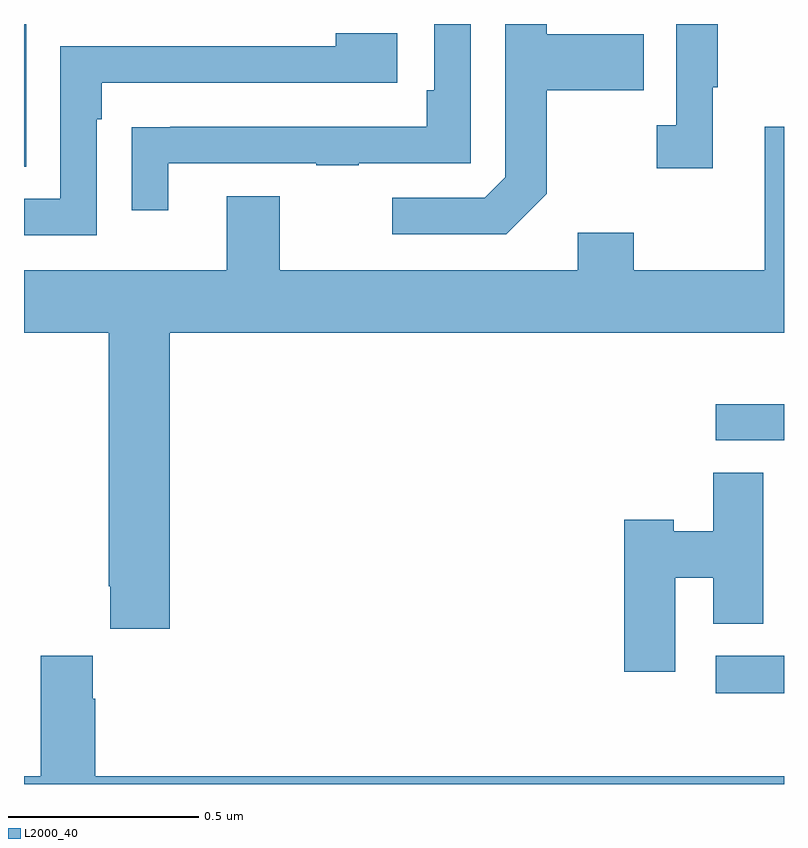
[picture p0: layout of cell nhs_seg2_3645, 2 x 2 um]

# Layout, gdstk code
import gdstk
lib = gdstk.Library(unit=1e-6, precision=1e-09)
def R(c, l, rs):  # rectangles x0, y0, x1, y1
    for r in rs: c.add(gdstk.rectangle(r[:2], r[2:], *l))
def P(c, l, *ps):  # polygons
    for p in ps: c.add(gdstk.Polygon(p, *l))
L2000_40 = (2000, 40)

nhs_seg2_3645 = lib.new_cell('nhs_seg2_3645')
R(nhs_seg2_3645, L2000_40, [(157.821,628.039,158,628.137), (157.821,628.704,158,628.8), (156,629.425,156.006,629.8)])
P(nhs_seg2_3645, L2000_40, [(156.379,629.433),(156.769,629.433),(156.769,629.428),(156.881,629.428),(156.881,629.433),(157.176,629.433),(157.176,629.8),(157.08,629.8),(157.08,629.626),(157.06,629.626),(157.06,629.529),(156.385,629.529),(156.385,629.528),(156.283,629.528),(156.283,629.31),(156.379,629.31)],
  [(157.813,629.633),(157.825,629.633),(157.825,629.8),(157.716,629.8),(157.716,629.534),(157.665,629.534),(157.665,629.421),(157.813,629.421)],
  [(157.375,629.353),(157.375,629.626),(157.631,629.626),(157.631,629.773),(157.375,629.773),(157.375,629.8),(157.266,629.8),(157.266,629.397),(157.212,629.343),(156.969,629.343),(156.969,629.247),(157.269,629.247)],
  [(156.192,629.549),(156.205,629.549),(156.205,629.646),(156.982,629.646),(156.982,629.776),(156.821,629.776),(156.821,629.742),(156.096,629.742),(156.096,629.34),(156,629.34),(156,629.244),(156.192,629.244)],
  [(156.383,628.988),(158,628.988),(158,629.53),(157.949,629.53),(157.949,629.152),(157.605,629.152),(157.605,629.251),(157.457,629.251),(157.457,629.152),(156.673,629.152),(156.673,629.347),(156.533,629.347),(156.533,629.152),(156,629.152),(156,628.988),(156.223,628.988),(156.223,628.321),(156.227,628.321),(156.227,628.209),(156.383,628.209)],
  [(157.714,628.343),(157.814,628.343),(157.814,628.222),(157.945,628.222),(157.945,628.619),(157.814,628.619),(157.814,628.465),(157.71,628.465),(157.71,628.496),(157.58,628.496),(157.58,628.095),(157.714,628.095)],
  [(158,627.82),(156.188,627.82),(156.188,628.025),(156.181,628.025),(156.181,628.138),(156.044,628.138),(156.044,627.82),(156,627.82),(156,627.8),(158,627.8)])

lib.write_gds('nhs_seg2_3645.gds')
